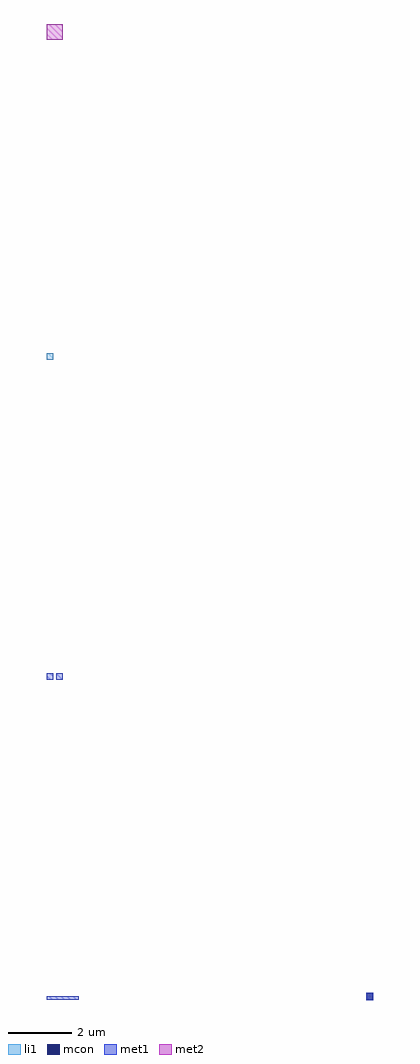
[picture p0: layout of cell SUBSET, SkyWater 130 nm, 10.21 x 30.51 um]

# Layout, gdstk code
import gdstk
lib = gdstk.Library(unit=1e-6, precision=1e-09)
def R(c, l, rs):  # rectangles x0, y0, x1, y1
    for r in rs: c.add(gdstk.rectangle(r[:2], r[2:], *l))
li1 = (67, 20)
mcon = (67, 44)
met1 = (68, 20)
met2 = (69, 20)

subset = lib.new_cell('SUBSET')
R(subset, li1, [(0,20,0.2,20.2)])
R(subset, mcon, [(10,0,10.2,0.2)])
R(subset, met1, [(9.99,-0.01,10.21,0.21), (0,0,1,0.1), (0,10,0.2,10.2), (0.3,10,0.5,10.2)])
R(subset, met2, [(0,30,0.5,30.5)])

lib.write_gds('SUBSET.gds')
